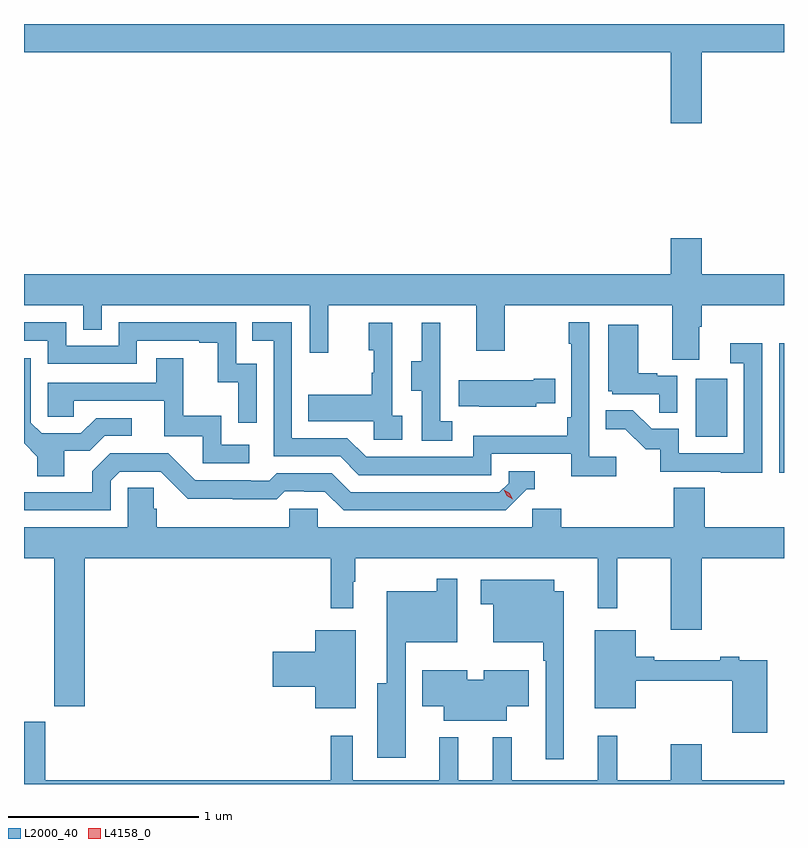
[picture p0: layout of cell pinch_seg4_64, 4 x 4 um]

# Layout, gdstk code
import gdstk
lib = gdstk.Library(unit=1e-6, precision=1e-09)
def R(c, l, rs):  # rectangles x0, y0, x1, y1
    for r in rs: c.add(gdstk.rectangle(r[:2], r[2:], *l))
def P(c, l, *ps):  # polygons
    for p in ps: c.add(gdstk.Polygon(p, *l))
L2000_40 = (2000, 40)
L4158_0 = (4158, 0)

pinch_seg4_64 = lib.new_cell('pinch_seg4_64')
R(pinch_seg4_64, L2000_40, [(1040.703,815.92,1040.728,816.601), (1040.264,816.108,1040.428,816.415)])
P(pinch_seg4_64, L2000_40, [(1040.296,818.132),(1040.728,818.132),(1040.728,818.281),(1036.728,818.281),(1036.728,818.132),(1040.132,818.132),(1040.132,817.758),(1040.296,817.758)],
  [(1036.728,816.8),(1037.04,816.8),(1037.04,816.673),(1037.136,816.673),(1037.136,816.8),(1038.231,816.8),(1038.231,816.552),(1038.329,816.552),(1038.329,816.8),(1039.109,816.8),(1039.109,816.561),(1039.257,816.561),(1039.257,816.8),(1040.141,816.8),(1040.141,816.514),(1040.281,816.514),(1040.281,816.688),(1040.294,816.688),(1040.294,816.8),(1040.728,816.8),(1040.728,816.964),(1040.296,816.964),(1040.296,817.153),(1040.132,817.153),(1040.132,816.964),(1036.728,816.964)],
  [(1039.846,816.004),(1039.704,816.004),(1039.704,816.712),(1039.596,816.712),(1039.596,816.599),(1039.608,816.599),(1039.608,816.211),(1039.588,816.211),(1039.588,816.115),(1039.092,816.115),(1039.092,816.003),(1038.528,816.003),(1038.429,816.102),(1038.138,816.102),(1038.138,816.711),(1037.929,816.711),(1037.929,816.615),(1038.042,816.615),(1038.042,816.006),(1038.392,816.006),(1038.491,815.907),(1039.188,815.907),(1039.188,816.018),(1039.607,816.018),(1039.607,815.902),(1039.846,815.902)],
  [(1037.952,816.492),(1037.844,816.492),(1037.844,816.711),(1037.226,816.711),(1037.226,816.588),(1036.95,816.588),(1036.95,816.711),(1036.728,816.711),(1036.728,816.615),(1036.854,816.615),(1036.854,816.492),(1037.322,816.492),(1037.322,816.615),(1037.651,816.615),(1037.651,816.603),(1037.747,816.603),(1037.747,816.395),(1037.856,816.395),(1037.856,816.183),(1037.952,816.183)],
  [(1038.718,816.218),(1038.666,816.218),(1038.666,816.709),(1038.542,816.709),(1038.542,816.564),(1038.568,816.564),(1038.568,816.446),(1038.558,816.446),(1038.558,816.331),(1038.223,816.331),(1038.223,816.191),(1038.57,816.191),(1038.57,816.093),(1038.718,816.093)],
  [(1038.982,816.191),(1038.918,816.191),(1038.918,816.495),(1038.92,816.495),(1038.92,816.709),(1038.821,816.709),(1038.821,816.507),(1038.767,816.507),(1038.767,816.352),(1038.822,816.352),(1038.822,816.088),(1038.982,816.088)],
  [(1040.166,816.429),(1040.06,816.429),(1040.06,816.442),(1039.96,816.442),(1039.96,816.697),(1039.802,816.697),(1039.802,816.348),(1039.824,816.348),(1039.824,816.333),(1040.071,816.333),(1040.071,816.235),(1040.166,816.235)],
  [(1040.613,816.601),(1040.445,816.601),(1040.445,816.495),(1040.517,816.495),(1040.517,816.021),(1040.175,816.021),(1040.175,816.15),(1040.031,816.15),(1039.933,816.248),(1039.789,816.248),(1039.789,816.149),(1039.893,816.149),(1040,816.042),(1040.077,816.042),(1040.077,815.925),(1040.395,815.925),(1040.395,815.92),(1040.613,815.92)],
  [(1037.914,816.066),(1037.766,816.066),(1037.766,816.22),(1037.567,816.22),(1037.567,816.523),(1037.423,816.523),(1037.423,816.393),(1036.854,816.393),(1036.854,816.213),(1036.991,816.213),(1036.991,816.297),(1037.465,816.297),(1037.465,816.111),(1037.67,816.111),(1037.67,815.97),(1037.914,815.97)],
  [(1036.939,816.034),(1037.074,816.034),(1037.154,816.114),(1037.296,816.114),(1037.296,816.207),(1037.108,816.207),(1037.027,816.126),(1036.821,816.126),(1036.764,816.183),(1036.764,816.523),(1036.728,816.523),(1036.728,816.075),(1036.799,816.004),(1036.799,815.902),(1036.939,815.902)],
  [(1039.425,816.284),(1039.523,816.284),(1039.523,816.414),(1039.412,816.414),(1039.412,816.406),(1039.015,816.406),(1039.015,816.269),(1039.123,816.269),(1039.123,816.266),(1039.425,816.266)],
  [(1037.184,815.877),(1037.232,815.925),(1037.448,815.925),(1037.59,815.783),(1037.826,815.783),(1037.826,815.781),(1038.059,815.781),(1038.101,815.823),(1038.204,815.823),(1038.204,815.82),(1038.311,815.82),(1038.41,815.721),(1039.263,815.721),(1039.374,815.832),(1039.417,815.832),(1039.417,815.928),(1039.278,815.928),(1039.278,815.865),(1039.23,815.817),(1038.447,815.817),(1038.348,815.916),(1038.059,815.916),(1038.02,815.877),(1037.921,815.877),(1037.921,815.88),(1037.628,815.88),(1037.487,816.021),(1037.181,816.021),(1037.087,815.927),(1037.087,815.817),(1036.728,815.817),(1036.728,815.721),(1037.184,815.721)],
  [(1037.048,815.468),(1038.343,815.468),(1038.343,815.205),(1038.46,815.205),(1038.46,815.345),(1038.472,815.345),(1038.472,815.468),(1039.747,815.468),(1039.747,815.205),(1039.85,815.205),(1039.85,815.468),(1040.132,815.468),(1040.132,815.094),(1040.296,815.094),(1040.296,815.468),(1040.728,815.468),(1040.728,815.632),(1040.312,815.632),(1040.312,815.84),(1040.147,815.84),(1040.147,815.632),(1039.555,815.632),(1039.555,815.73),(1039.404,815.73),(1039.404,815.632),(1038.273,815.632),(1038.273,815.73),(1038.123,815.73),(1038.123,815.632),(1037.426,815.632),(1037.426,815.73),(1037.411,815.73),(1037.411,815.84),(1037.274,815.84),(1037.274,815.632),(1036.728,815.632),(1036.728,815.468),(1036.888,815.468),(1036.888,814.689),(1037.048,814.689)],
  [(1038.736,815.027),(1039.008,815.027),(1039.008,815.362),(1038.9,815.362),(1038.9,815.296),(1038.638,815.296),(1038.638,814.81),(1038.587,814.81),(1038.587,814.418),(1038.736,814.418)],
  [(1039.57,815.296),(1039.519,815.296),(1039.519,815.356),(1039.131,815.356),(1039.131,815.227),(1039.199,815.227),(1039.199,815.027),(1039.461,815.027),(1039.461,814.931),(1039.473,814.931),(1039.473,814.41),(1039.57,814.41)],
  [(1040.639,814.932),(1040.492,814.932),(1040.492,814.952),(1040.392,814.952),(1040.392,814.933),(1040.044,814.933),(1040.044,814.952),(1039.948,814.952),(1039.948,815.089),(1039.733,815.089),(1039.733,814.679),(1039.948,814.679),(1039.948,814.824),(1040.456,814.824),(1040.456,814.551),(1040.639,814.551)],
  [(1038.475,815.089),(1038.26,815.089),(1038.26,814.976),(1038.036,814.976),(1038.036,814.793),(1038.26,814.793),(1038.26,814.679),(1038.475,814.679)],
  [(1039.27,814.691),(1039.384,814.691),(1039.384,814.879),(1039.148,814.879),(1039.148,814.831),(1039.06,814.831),(1039.06,814.879),(1038.824,814.879),(1038.824,814.691),(1038.938,814.691),(1038.938,814.613),(1039.27,814.613)],
  [(1040.728,814.3),(1040.296,814.3),(1040.296,814.489),(1040.132,814.489),(1040.132,814.3),(1039.85,814.3),(1039.85,814.534),(1039.748,814.534),(1039.748,814.3),(1039.295,814.3),(1039.295,814.528),(1039.196,814.528),(1039.196,814.3),(1039.013,814.3),(1039.013,814.528),(1038.914,814.528),(1038.914,814.3),(1038.459,814.3),(1038.459,814.534),(1038.343,814.534),(1038.343,814.3),(1036.84,814.3),(1036.84,814.609),(1036.728,814.609),(1036.728,814.281),(1040.728,814.281)])
P(pinch_seg4_64, L4158_0, [(1039.301,815.779),(1039.27,815.798),(1039.253,815.83),(1039.253,815.831),(1039.253,815.831),(1039.284,815.811),(1039.301,815.779),(1039.301,815.779)])

lib.write_gds('pinch_seg4_64.gds')
